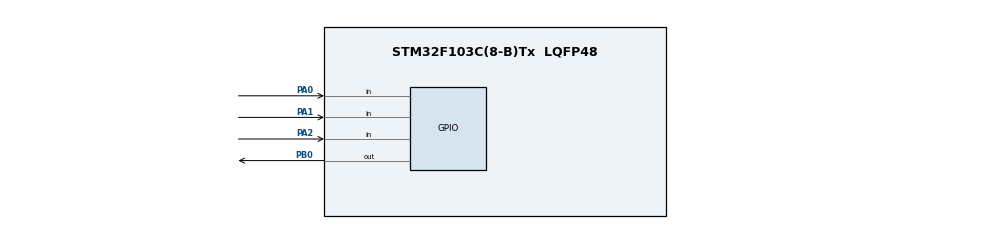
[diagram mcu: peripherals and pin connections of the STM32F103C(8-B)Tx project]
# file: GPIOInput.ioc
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Mcu.Family=STM32F1
Mcu.Name=STM32F103C(8-B)Tx
Mcu.Package=LQFP48
NVIC.PriorityGroup=NVIC_PRIORITYGROUP_4
PA0-WKUP.GPIO_PuPd=GPIO_PULLUP
PA0-WKUP.Signal=GPIO_Input
PA1.GPIO_PuPd=GPIO_PULLUP
PA1.Signal=GPIO_Input
PA2.GPIO_PuPd=GPIO_PULLUP
PA2.Signal=GPIO_Input
PB0.Signal=GPIO_Output
ProjectManager.HeapSize=0x200
ProjectManager.StackSize=0x400
ProjectManager.TargetToolchain=MDK-ARM V5.32
RCC.APB1Freq_Value=8000000
RCC.APB2Freq_Value=8000000
VP_SYS_VS_ND.Mode=No_Debug
board=custom

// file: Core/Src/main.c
/* USER CODE BEGIN Header */
/**
  ******************************************************************************
  * @file           : main.c
  * @brief          : Main program body
  ******************************************************************************
  * @attention
  *
  * Copyright (c) 2024 STMicroelectronics.
  * All rights reserved.
  *
  * This software is licensed under terms that can be found in the LICENSE file
  * in the root directory of this software component.
  * If no LICENSE file comes with this software, it is provided AS-IS.
  *
  ******************************************************************************
  */
/* USER CODE END Header */
#include "main.h"
#include <stdbool.h>

void SystemClock_Config(void);
static void MX_GPIO_Init(void);

/* USER CODE BEGIN 0 */
bool isClicked=false;
/* USER CODE END 0 */

int main(void)
{

  /* MCU Configuration--------------------------------------------------------*/

  /* Reset of all peripherals, Initializes the Flash interface and the Systick. */
  HAL_Init();

  /* Configure the system clock */
  SystemClock_Config();

  /* Initialize all configured peripherals */
  MX_GPIO_Init();

  /* Infinite loop */
  while (1)
  {

    /* USER CODE BEGIN 3 */
		if((GPIOA->IDR&1)==0){
			HAL_Delay(20);
			if((GPIOA->IDR&1)==0){
				isClicked=true;
				if(isClicked){
					GPIOB->BSRR=1;
				}
			}
		}
		if((GPIOA->IDR&1<<1)==0){
			HAL_Delay(20);
			if((GPIOA->IDR&1<<1)==0){
				isClicked=false;
				if(isClicked==false){
					GPIOB->BSRR=1<<16;
				}
			}
		}
		if((GPIOA->IDR&1<<2)==0){
			HAL_Delay(20);
			if((GPIOA->IDR&1<<2)==0){
				while(1){
					if((GPIOA->IDR&1)==0||(GPIOA->IDR&1<<1)==0){break;}
					GPIOB->BSRR=1;
					if((GPIOA->IDR&1)==0||(GPIOA->IDR&1<<1)==0){break;}
					HAL_Delay(1000);
					if((GPIOA->IDR&1)==0||(GPIOA->IDR&1<<1)==0){break;}
					GPIOB->BSRR=1<<16;
					if((GPIOA->IDR&1)==0||(GPIOA->IDR&1<<1)==0){break;}
					HAL_Delay(1000);
					if((GPIOA->IDR&1)==0||(GPIOA->IDR&1<<1)==0){break;}
				}
			}
		}
  }
  /* USER CODE END 3 */
}

void SystemClock_Config(void)
{
  RCC_OscInitTypeDef RCC_OscInitStruct = {0};
  RCC_ClkInitTypeDef RCC_ClkInitStruct = {0};

  /** Initializes the RCC Oscillators according to the specified parameters
  * in the RCC_OscInitTypeDef structure.
  */
  RCC_OscInitStruct.OscillatorType = RCC_OSCILLATORTYPE_HSI;
  RCC_OscInitStruct.HSIState = RCC_HSI_ON;
  RCC_OscInitStruct.HSICalibrationValue = RCC_HSICALIBRATION_DEFAULT;
  RCC_OscInitStruct.PLL.PLLState = RCC_PLL_NONE;
  if (HAL_RCC_OscConfig(&RCC_OscInitStruct) != HAL_OK)
  {
    Error_Handler();
  }

  /** Initializes the CPU, AHB and APB buses clocks
  */
  RCC_ClkInitStruct.ClockType = RCC_CLOCKTYPE_HCLK|RCC_CLOCKTYPE_SYSCLK
                              |RCC_CLOCKTYPE_PCLK1|RCC_CLOCKTYPE_PCLK2;
  RCC_ClkInitStruct.SYSCLKSource = RCC_SYSCLKSOURCE_HSI;
  RCC_ClkInitStruct.AHBCLKDivider = RCC_SYSCLK_DIV1;
  RCC_ClkInitStruct.APB1CLKDivider = RCC_HCLK_DIV1;
  RCC_ClkInitStruct.APB2CLKDivider = RCC_HCLK_DIV1;

  if (HAL_RCC_ClockConfig(&RCC_ClkInitStruct, FLASH_LATENCY_0) != HAL_OK)
  {
    Error_Handler();
  }
}

static void MX_GPIO_Init(void)
{
  GPIO_InitTypeDef GPIO_InitStruct = {0};

  /* GPIO Ports Clock Enable */
  __HAL_RCC_GPIOA_CLK_ENABLE();
  __HAL_RCC_GPIOB_CLK_ENABLE();

  /*Configure GPIO pin Output Level */
  HAL_GPIO_WritePin(GPIOB, GPIO_PIN_0, GPIO_PIN_RESET);

  /*Configure GPIO pins : PA0 PA1 PA2 */
  GPIO_InitStruct.Pin = GPIO_PIN_0|GPIO_PIN_1|GPIO_PIN_2;
  GPIO_InitStruct.Mode = GPIO_MODE_INPUT;
  GPIO_InitStruct.Pull = GPIO_PULLUP;
  HAL_GPIO_Init(GPIOA, &GPIO_InitStruct);

  /*Configure GPIO pin : PB0 */
  GPIO_InitStruct.Pin = GPIO_PIN_0;
  GPIO_InitStruct.Mode = GPIO_MODE_OUTPUT_PP;
  GPIO_InitStruct.Pull = GPIO_NOPULL;
  GPIO_InitStruct.Speed = GPIO_SPEED_FREQ_LOW;
  HAL_GPIO_Init(GPIOB, &GPIO_InitStruct);

}

void Error_Handler(void)
{
  __disable_irq();
  while (1)
  {
  }
}
